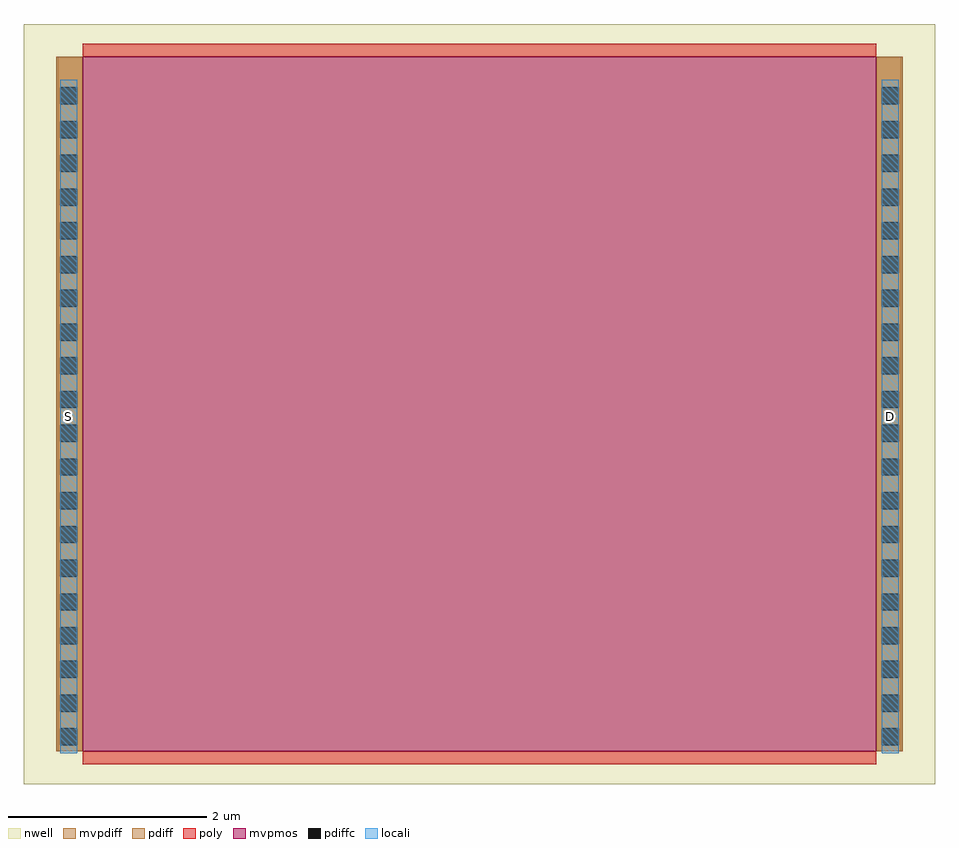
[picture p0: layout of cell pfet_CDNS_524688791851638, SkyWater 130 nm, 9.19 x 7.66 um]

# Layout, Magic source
magic
tech sky130A
magscale 1 2
<< nwell >>
rect -119 -66 1719 1466
<< mvpmos >>
rect 0 0 1600 1400
<< mvpdiff >>
rect -50 0 0 1400
rect 1600 0 1650 1400
<< poly >>
rect 0 1400 1600 1426
rect 0 -26 1600 0
<< locali >>
rect -45 -4 -11 1354
rect 1611 -4 1645 1354
use DFL1sd_CDNS_52468879185620  DFL1sd_CDNS_52468879185620_0
transform -1 0 0 0 1 0
box -36 -36 89 1436
use DFL1sd_CDNS_52468879185620  DFL1sd_CDNS_52468879185620_1
transform 1 0 1600 0 1 0
box -36 -36 89 1436
<< labels >>
flabel comment s -28 675 -28 675 0 FreeSans 300 0 0 0 S
flabel comment s 1628 675 1628 675 0 FreeSans 300 0 0 0 D
<< properties >>
string GDS_END 96470020
string GDS_FILE $PDKPATH/libs.ref/sky130_fd_io/gds/sky130_fd_io.gds
string GDS_START 96469006
<< end >>

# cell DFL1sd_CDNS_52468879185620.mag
magic
tech sky130A
magscale 1 2
<< nwell >>
rect -36 -36 89 1436
<< pdiff >>
rect 0 1338 53 1400
rect 0 1304 11 1338
rect 45 1304 53 1338
rect 0 1270 53 1304
rect 0 1236 11 1270
rect 45 1236 53 1270
rect 0 1202 53 1236
rect 0 1168 11 1202
rect 45 1168 53 1202
rect 0 1134 53 1168
rect 0 1100 11 1134
rect 45 1100 53 1134
rect 0 1066 53 1100
rect 0 1032 11 1066
rect 45 1032 53 1066
rect 0 998 53 1032
rect 0 964 11 998
rect 45 964 53 998
rect 0 930 53 964
rect 0 896 11 930
rect 45 896 53 930
rect 0 862 53 896
rect 0 828 11 862
rect 45 828 53 862
rect 0 794 53 828
rect 0 760 11 794
rect 45 760 53 794
rect 0 726 53 760
rect 0 692 11 726
rect 45 692 53 726
rect 0 658 53 692
rect 0 624 11 658
rect 45 624 53 658
rect 0 590 53 624
rect 0 556 11 590
rect 45 556 53 590
rect 0 522 53 556
rect 0 488 11 522
rect 45 488 53 522
rect 0 454 53 488
rect 0 420 11 454
rect 45 420 53 454
rect 0 386 53 420
rect 0 352 11 386
rect 45 352 53 386
rect 0 318 53 352
rect 0 284 11 318
rect 45 284 53 318
rect 0 250 53 284
rect 0 216 11 250
rect 45 216 53 250
rect 0 182 53 216
rect 0 148 11 182
rect 45 148 53 182
rect 0 114 53 148
rect 0 80 11 114
rect 45 80 53 114
rect 0 46 53 80
rect 0 12 11 46
rect 45 12 53 46
rect 0 0 53 12
<< pdiffc >>
rect 11 1304 45 1338
rect 11 1236 45 1270
rect 11 1168 45 1202
rect 11 1100 45 1134
rect 11 1032 45 1066
rect 11 964 45 998
rect 11 896 45 930
rect 11 828 45 862
rect 11 760 45 794
rect 11 692 45 726
rect 11 624 45 658
rect 11 556 45 590
rect 11 488 45 522
rect 11 420 45 454
rect 11 352 45 386
rect 11 284 45 318
rect 11 216 45 250
rect 11 148 45 182
rect 11 80 45 114
rect 11 12 45 46
<< locali >>
rect 11 1338 45 1354
rect 11 1270 45 1304
rect 11 1202 45 1236
rect 11 1134 45 1168
rect 11 1066 45 1100
rect 11 998 45 1032
rect 11 930 45 964
rect 11 862 45 896
rect 11 794 45 828
rect 11 726 45 760
rect 11 658 45 692
rect 11 590 45 624
rect 11 522 45 556
rect 11 454 45 488
rect 11 386 45 420
rect 11 318 45 352
rect 11 250 45 284
rect 11 182 45 216
rect 11 114 45 148
rect 11 46 45 80
rect 11 -4 45 12
<< properties >>
string GDS_END 6685590
string GDS_FILE $PDKPATH/libs.ref/sky130_fd_io/gds/sky130_fd_io.gds
string GDS_START 6684050
<< end >>
